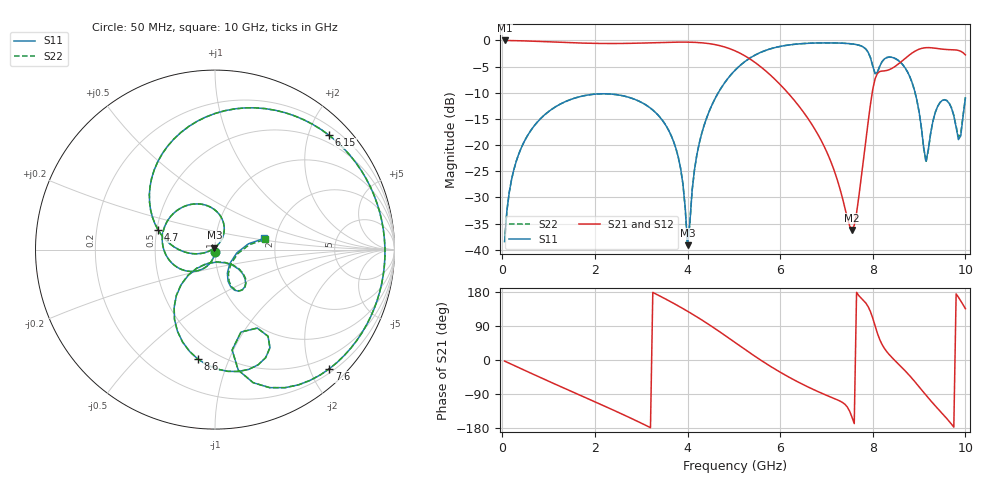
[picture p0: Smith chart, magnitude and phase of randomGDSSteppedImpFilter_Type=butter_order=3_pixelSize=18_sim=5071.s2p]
! freq	dB(S11)	phase(S11)	dB(S12)	phase(S12)
!  dB(S21)	phase(S21)	dB(S22)	phase(S22)
!S-par simulation data
#  GHz  S  DB  R 50
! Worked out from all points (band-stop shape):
!   200 points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, 50 MHz to 10 GHz, reference 50 ohm
!   highest |S21| = 0.00 dB at 50 MHz (marker M1); lowest = -36.2 dB at 7.55 GHz (marker M2)
!   |S21| within 3 dB of the highest: start of sweep to 5.25 GHz; 8.759 GHz to end of sweep
!   lowest |S11| = -39.2 dB at 4 GHz (marker M3), VSWR 1.02, Z = 49.7 + j1.05 ohm
!   |S11| at or under -10 dB: start of sweep to 4.664 GHz; 8.914 GHz to end of sweep
!   |S22| runs from -39.3 to -0.5 dB; largest |S21 - S12| = 0
!   S11 on the Smith chart (normalised r, x): 50 MHz: 1.00, -0.02; 4.7 GHz: 0.51, +0.13; 6.15 GHz: 0.35, +2.37; 7.6 GHz: 0.27, -2.32; 8.6 GHz: 0.39, -0.78; 10 GHz: 1.74, +0.24
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0.05  -38.47 -92.1  -0.00 -2.9  -0.00 -2.9  -38.53 -92.5
0.2  -26.58 -101.5  -0.03 -11.4  -0.03 -11.4  -26.58 -101.4
0.5  -18.89 -118.8  -0.09 -28.2  -0.09 -28.2  -18.89 -118.8
1.75  -10.59 172.5  -0.51 -96.8  -0.51 -96.8  -10.59 172.5
3.4  -14.63 79.8  -0.40 169.0  -0.40 169.0  -14.63 79.7
3.8  -22.32 57.6  -0.32 142.7  -0.32 142.7  -22.32 57.4
4  -39.18 105.7  -0.33 128.7  -0.33 128.7  -39.32 105.3
4.25  -19.77 -166.8  -0.42 110.1  -0.42 110.1  -19.77 -166.7
4.7  -9.46 160.7  -1.01 74.0  -1.01 74.0  -9.46 160.7
5.05  -5.49 131.6  -2.08 44.2  -2.08 44.2  -5.49 131.6
5.6  -2.20 85.9  -5.17 -1.9  -5.17 -1.9  -2.20 85.9
6.15  -0.91 45.0  -9.85 -42.6  -9.85 -42.6  -0.91 45.0
6.7  -0.51 9.5  -16.26 -76.9  -16.26 -76.9  -0.51 9.5
7.55  -0.67 -42.7  -36.21 -150.5  -36.21 -150.5  -0.67 -42.7
7.6  -0.72 -46.2  -35.34 -167.8  -35.34 -167.8  -0.72 -46.2
8.05  -6.35 -72.5  -7.33 90.1  -7.33 90.1  -6.35 -72.5
8.35  -3.18 -74.3  -5.60 15.0  -5.60 15.0  -3.18 -74.3
8.6  -4.19 -98.9  -4.17 -16.2  -4.17 -16.2  -4.19 -98.9
9.2  -20.82 -53.8  -1.37 -100.1  -1.37 -100.1  -20.95 -52.7
9.7  -12.94 -67.1  -1.77 -169.3  -1.77 -169.3  -12.87 -65.8
9.85  -18.95 -42.4  -1.91 165.5  -1.91 165.5  -18.50 -41.2
10  -11.01 12.9  -2.76 135.5  -2.76 135.5  -10.91 11.6
